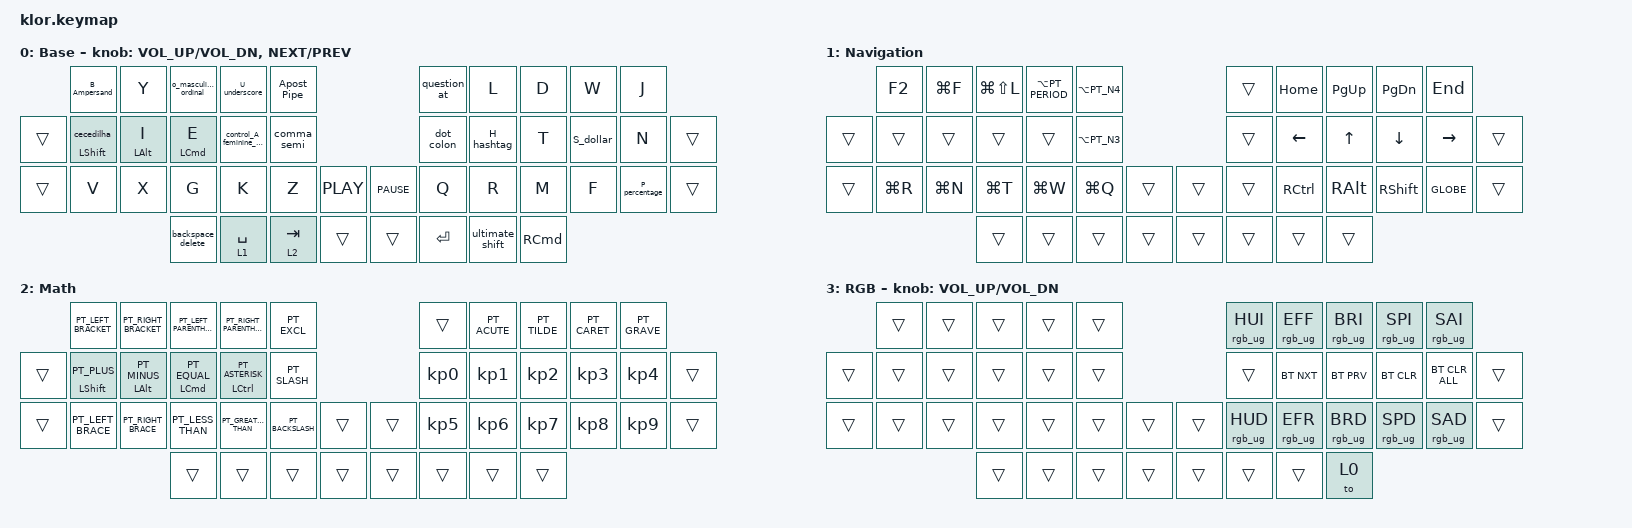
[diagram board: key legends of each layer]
//                               █         █    █            ▄▄▄▀▀▀▀▀▀▄▄▄        █▀▀▀▀▀▀▀▀▀▀█
//                               █        █     █          ▄▀            ▀▄      █          █
//                               █       █      █        ▄▀                ▀▄    █          █
//                               █      █       █        █                  █    █          █
//                               █     █        █       █                    █   █          █
//                               █    █         █       █                    █   █▄▄▄▄▄▄▄▄▄▄█
//                               █   █ █        █       █                    █   █      █
//                               █  █   █       █        █                  █    █       █
//                               █ █     █      █        ▀▄                ▄▀    █        █
//                               ██       █     █          ▀▄            ▄▀      █         █
//                               █         █    █▄▄▄▄▄▄▄▄    ▀▀▀▄▄▄▄▄▄▀▀▀        █          █
//
// ▄▄▄▄▄▄▄▄▄▄▄▄▄▄▄▄▄▄▄▄▄▄▄▄▄▄▄▄▄▄▄▄▄▄▄▄▄▄▄▄▄▄▄▄▄▄▄▄▄▄▄▄▄▄▄▄▄▄▄▄▄▄▄▄▄▄▄▄▄▄▄▄▄▄▄▄▄▄▄▄▄▄▄▄▄▄▄▄▄▄▄▄▄▄▄▄▄▄▄▄▄▄▄▄▄▄▄▄▄▄▄▄▄▄▄▄▄▄▄▄▄▄▄▄▄

#include "keys_pt_abnt2.h"
#include <dt-bindings/zmk/mouse.h>
#include <behaviors.dtsi>
#include <dt-bindings/zmk/bt.h>
#include <dt-bindings/zmk/keys.h>
#include <dt-bindings/zmk/rgb.h>

#define ENGRAM   0
#define NAV      1
#define PROD     2
#define QWERTY   3

&sk {
    quick-release;
    release-after-ms = <1500>;
};

/ {
    behaviors {
        left_hand_hm: homerow_mods {
            compatible = "zmk,behavior-hold-tap";
            label = "HOMEROW_MODS";
            #binding-cells = <2>;
            tapping-term-ms = <280>;
            quick_tap_ms = <0>;
            flavor = "balanced";
            bindings = <&kp>, <&kp>;

            quick-tap-ms = <175>;
            require-prior-idle-ms = <150>;
            hold-trigger-key-positions = <5 6 7 8 9 16 17 18 19 20 21 29 30 31 32 33 34 35 40 41 42 43 36 37 38 23 11>;
            hold-trigger-on-release;
        };

        cecedilha: cecedilha {
            compatible = "zmk,behavior-mod-morph";
            label = "CECEDILHA";
            bindings = <&kp C>, <&kp PT_C_CEDILLA>;

            #binding-cells = <0>;
            mods = <(MOD_LALT)>;
        };

        question_at: question_at {
            compatible = "zmk,behavior-mod-morph";
            label = "QUESTION_AT";
            bindings = <&kp PT_QMARK>, <&kp PT_AT>;

            #binding-cells = <0>;
            mods = <(MOD_LSFT|MOD_RSFT)>;
        };

        dot_colon: dot_colon {
            compatible = "zmk,behavior-mod-morph";
            label = "DOT_COLON";
            bindings = <&kp PT_DOT>, <&kp PT_COLON>;

            #binding-cells = <0>;
            mods = <(MOD_LSFT|MOD_RSFT)>;
        };

        o_masculine_ordinal: o_masculine_ordinal {
            compatible = "zmk,behavior-mod-morph";
            label = "O_MASCULINE_ORDINAL";
            bindings = <&kp O>, <&kp PT_MASCULINE_ORDINAL_INDICATOR>;

            #binding-cells = <0>;
            mods = <(MOD_LALT)>;
        };

        control_A_feminine_ordinal: control_A_feminine_ordinal {
            compatible = "zmk,behavior-mod-morph";
            label = "CONTROL_A_FEMININE_ORDINAL";
            bindings =
                <&left_hand_hm LEFT_CONTROL A>,
                <&kp PT_FEMININE_ORDINAL_INDICATOR>;

            #binding-cells = <0>;
            mods = <(MOD_LALT)>;
        };

        backspace_delete: backspace_delete {
            compatible = "zmk,behavior-mod-morph";
            label = "BACKSPACE_DELETE";
            bindings = <&kp BACKSPACE>, <&kp DELETE>;

            #binding-cells = <0>;
            mods = <(MOD_LCTL|MOD_RCTL)>;
        };

        comma_semi: comma_semi {
            compatible = "zmk,behavior-mod-morph";
            label = "COMMA_SEMI";
            bindings = <&kp PT_COMMA>, <&kp PT_SEMICOLON>;

            #binding-cells = <0>;
            mods = <(MOD_LSFT|MOD_RSFT)>;
        };

        P_percentage: P_percentage {
            compatible = "zmk,behavior-mod-morph";
            label = "P_PERCENTAGE";
            bindings = <&kp P>, <&kp PERCENT>;

            #binding-cells = <0>;
            mods = <(MOD_LALT)>;
        };

        B_Ampersand: B_Ampersand {
            compatible = "zmk,behavior-mod-morph";
            label = "B_AMPERSAND";
            bindings = <&kp B>, <&kp AMPERSAND>;

            #binding-cells = <0>;
            mods = <(MOD_LALT)>;
        };

        U_underscore: U_underscore {
            compatible = "zmk,behavior-mod-morph";
            label = "U_UNDERSCORE";
            bindings = <&kp U>, <&kp UNDERSCORE>;

            #binding-cells = <0>;
            mods = <(MOD_LALT)>;
        };

        shift_C_Cecedilha: shift_C_Cecedilha {
            compatible = "zmk,behavior-hold-tap";
            label = "SHIFT_C_CECEDILHA";
            #binding-cells = <2>;
            tapping-term-ms = <280>;
            quick_tap_ms = <0>;
            flavor = "balanced";
            bindings = <&kp>, <&cecedilha>;

            quick-tap-ms = <175>;
            require-prior-idle-ms = <150>;
            hold-trigger-key-positions = <5 6 7 8 9 16 17 18 19 20 21 29 30 31 32 33 34 35 40 41 42 43>;
            hold-trigger-on-release;
        };

        ultimate_shift: ultimate_shift {
            compatible = "zmk,behavior-tap-dance";
            label = "ULTIMATE_SHIFT";
            #binding-cells = <0>;
            bindings = <&sk LEFT_SHIFT>, <&caps_word>, <&kp CAPSLOCK>;

            tapping-term-ms = <180>;
        };

        H_hashtag: H_hashtag {
            compatible = "zmk,behavior-mod-morph";
            label = "H_HASHTAG";
            bindings = <&kp H>, <&kp PT_HASH>;

            #binding-cells = <0>;
            mods = <(MOD_LALT)>;
        };

        S_dollar: S_dollar {
            compatible = "zmk,behavior-mod-morph";
            label = "S_DOLLAR";
            bindings = <&kp S>, <&kp PT_DOLLAR>;

            #binding-cells = <0>;
            mods = <(MOD_LALT)>;
        };

        to_layers: to_layers {
            compatible = "zmk,behavior-tap-dance";
            label = "TO_LAYERS";
            #binding-cells = <0>;
            bindings = <&to 1>, <&to 2>;
        };

        Apost_Pipe: Apost_Pipe {
            compatible = "zmk,behavior-mod-morph";
            label = "APOST_PIPE";
            bindings = <&kp PT_APOSTROPHE>, <&kp PT_PIPE>;

            #binding-cells = <0>;
            mods = <(MOD_LALT)>;
        };
    };

    combos {
        compatible = "zmk,combos";

        Esc_one_handed {
            bindings = <&kp ESC>;
            key-positions = <24 23>;
            require-prior-idle-ms = <150>;
            layers = <0>;
        };

        enter_one_handed {
            bindings = <&kp ENTER>;
            key-positions = <26 27>;
            require-prior-idle-ms = <150>;
            layers = <0>;
        };

        to_layer1 {
            bindings = <&to 1>;
            key-positions = <37 41>;
            layers = <0>;
        };

        to_layer2 {
            bindings = <&to 2>;
            key-positions = <38 41>;
            layers = <0>;
        };

        Back_to_base1 {
            bindings = <&to 0>;
            key-positions = <37 41>;
            layers = <1>;
        };

        Back_to_base2 {
            bindings = <&to 0>;
            key-positions = <41 38>;
            layers = <2>;
        };
    };

    keymap {
        compatible = "zmk,keymap";

        // ▄▄▄▄▄▄▄▄▄▄▄▄▄▄▄▄▄▄▄▄▄▄▄▄▄▄▄▄▄▄▄▄▄▄▄▄▄▄▄▄▄▄▄▄▄▄▄▄▄▄▄▄▄▄▄▄▄▄▄▄▄▄▄▄▄▄▄▄▄▄▄▄▄▄▄▄▄▄▄▄▄▄▄▄▄▄▄▄▄▄▄▄▄▄▄▄▄▄▄▄▄▄▄▄▄▄▄▄▄▄▄▄▄▄▄▄▄▄▄▄▄▄▄▄▄▄▄▄▄▄▄▄▄▄▄▄▄▄▄▄▄▄
        // ▄▄▄▄▄▄▄▄▄▄▄▄▄▄▄▄▄▄▄▄▄▄▄▄▄▄▄▄▄▄▄▄▄▄▄▄▄▄▄▄▄▄▄▄▄▄▄▄▄▄▄▄▄▄▄▄▄▄▄▄▄▄▄▄▄▄▄▄▄▄▄▄▄▄▄▄▄▄▄▄▄▄▄▄▄▄▄▄▄▄▄▄▄▄▄▄▄▄▄▄▄▄▄▄▄▄▄▄▄▄▄▄▄▄▄▄▄▄▄▄▄▄▄▄▄▄▄▄▄▄▄▄▄▄▄▄▄▄▄▄▄▄
        // ▄▄▄▄▄▄▄▄▄▄▄▄▄▄▄▄▄▄▄▄▄▄▄▄▄▄▄▄▄▄▄▄▄▄▄▄▄▄▄▄▄▄▄▄▄▄▄▄▄▄▄▄▄▄▄▄▄▄▄▄▄▄▄▄▄▄▄▄▄▄▄▄▄▄▄▄▄▄▄▄▄▄▄▄▄▄▄▄▄▄▄▄▄▄▄▄▄▄▄▄▄▄▄▄▄▄▄▄▄▄▄▄▄▄▄▄▄▄▄▄▄▄▄▄▄
        // ▄▄▄▄▄▄▄▄▄▄▄▄▄▄▄▄▄▄▄▄▄▄▄▄▄▄▄▄▄▄▄▄▄▄▄▄▄▄▄▄▄▄▄▄▄▄▄▄▄▄▄▄▄▄▄▄▄▄▄▄▄▄▄▄▄▄▄▄▄▄▄▄▄▄▄▄▄▄▄▄▄▄▄▄▄▄▄▄▄▄▄▄▄▄▄▄▄▄▄▄▄▄▄▄▄▄▄▄▄▄▄▄▄▄▄▄▄▄▄▄▄▄▄▄▄

        Base {
            bindings = <
        &B_Ampersand                     &kp Y                     &o_masculine_ordinal          &U_underscore                &Apost_Pipe                           &question_at  &kp L            &kp D              &kp W      &kp J
&trans  &shift_C_Cecedilha LEFT_SHIFT 0  &left_hand_hm LEFT_ALT I  &left_hand_hm LEFT_COMMAND E  &control_A_feminine_ordinal  &comma_semi                           &dot_colon    &H_hashtag       &kp T              &S_dollar  &kp N          &trans
&trans  &kp V                            &kp X                     &kp G                         &kp K                        &kp Z        &kp C_PLAY  &kp C_PAUSE  &kp Q         &kp R            &kp M              &kp F      &P_percentage  &trans
                                                                   &backspace_delete             &lt 1 SPACE                  &lt 2 TAB    &trans      &trans       &kp ENTER     &ultimate_shift  &kp RIGHT_COMMAND
            >;

            sensor-bindings = <&inc_dec_kp C_VOL_UP C_VOL_DN &inc_dec_kp C_NEXT C_PREV>;
            label = "Base";
        };

        Navigation {
            bindings = <
        &kp F2     &kp LG(F)  &kp LG(LS(L))  &kp LA(PT_PERIOD)  &kp LA(PT_N4)                  &trans  &kp HOME           &kp PAGE_UP    &kp PAGE_DOWN    &kp END
&trans  &trans     &trans     &trans         &trans             &kp LA(PT_N3)                  &trans  &kp LEFT_ARROW     &kp UP         &kp DOWN_ARROW   &kp RIGHT  &trans
&trans  &kp LG(R)  &kp LG(N)  &kp LG(T)      &kp LG(W)          &kp LG(Q)      &trans  &trans  &trans  &kp RIGHT_CONTROL  &kp RIGHT_ALT  &kp RIGHT_SHIFT  &kp GLOBE  &trans
                              &trans         &trans             &trans         &trans  &trans  &trans  &trans             &trans
            >;

            label = "Navigation";
        };

        Math {
            bindings = <
        &kp PT_LEFT_BRACKET               &kp PT_RIGHT_BRACKET             &kp PT_LEFT_PARENTHESIS              &kp PT_RIGHT_PARENTHESIS                &kp PT_EXCL                       &trans           &kp PT_ACUTE     &kp PT_TILDE     &kp PT_CARET     &kp PT_GRAVE
&trans  &left_hand_hm LEFT_SHIFT PT_PLUS  &left_hand_hm LEFT_ALT PT_MINUS  &left_hand_hm LEFT_COMMAND PT_EQUAL  &left_hand_hm LEFT_CONTROL PT_ASTERISK  &kp PT_SLASH                      &kp KP_NUMBER_0  &kp KP_NUMBER_1  &kp KP_NUMBER_2  &kp KP_NUMBER_3  &kp KP_NUMBER_4  &trans
&trans  &kp PT_LEFT_BRACE                 &kp PT_RIGHT_BRACE               &kp PT_LESS_THAN                     &kp PT_GREATER_THAN                     &kp PT_BACKSLASH  &trans  &trans  &kp KP_NUMBER_5  &kp KP_NUMBER_6  &kp KP_NUMBER_7  &kp KP_NUMBER_8  &kp KP_NUMBER_9  &trans
                                                                           &trans                               &trans                                  &trans            &trans  &trans  &trans           &trans           &trans
            >;

            label = "Math";
        };

        RGB {
            label = "RGB";
            bindings = <
        &trans  &trans  &trans  &trans  &trans                  &rgb_ug RGB_HUI  &rgb_ug RGB_EFF  &rgb_ug RGB_BRI  &rgb_ug RGB_SPI  &rgb_ug RGB_SAI
&trans  &trans  &trans  &trans  &trans  &trans                  &trans           &bt BT_NXT       &bt BT_PRV       &bt BT_CLR       &bt BT_CLR_ALL   &trans
&trans  &trans  &trans  &trans  &trans  &trans  &trans  &trans  &rgb_ug RGB_HUD  &rgb_ug RGB_EFR  &rgb_ug RGB_BRD  &rgb_ug RGB_SPD  &rgb_ug RGB_SAD  &trans
                        &trans  &trans  &trans  &trans  &trans  &trans           &trans           &to 0
            >;

            sensor-bindings = <&inc_dec_kp C_VOL_UP C_VOL_DN>;
        };
    };
};
